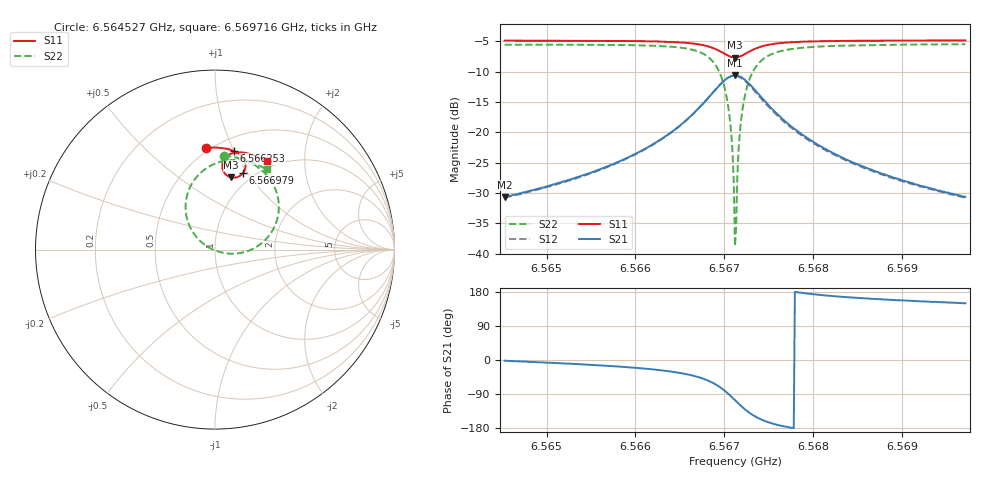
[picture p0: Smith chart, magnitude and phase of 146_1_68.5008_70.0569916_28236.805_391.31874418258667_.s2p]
#  HZ  S  RI  R  50.00
! Rohde & Schwarz Vector Network Analyzer
! Rohde-Schwarz,ZNB20-2Port,1311601062101988,3.16
! Created: UTC 3/20/2024, 5:10:13 PM
! freq[Hz]  re:S11  im:S11  re:S21  im:S21  re:S12  im:S12  re:S22  im:S22
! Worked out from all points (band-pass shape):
!   401 points, 6.564527 GHz to 6.569716 GHz, reference 50 ohm
!   highest |S21| = -10.63 dB at 6.567122 GHz (marker M1); lowest = -30.7 dB at 6.564527 GHz (marker M2)
!   |S21| within 3 dB of the highest: 6.566863 GHz to 6.567382 GHz (518.4 kHz wide, 0.00789 % of centre)
!   lowest |S11| = -7.7 dB at 6.567122 GHz (marker M3), VSWR 2.40, Z = 42 + j40.7 ohm
!   |S11| at or under -10 dB: nowhere
!   |S22| runs from -38.8 to -5.5 dB; largest |S21 - S12| = 0.014
!   S11 on the Smith chart (normalised r, x): 6.564527 GHz: 0.48, +0.80; 6.566253 GHz: 0.62, +1.00; 6.566979 GHz: 0.89, +0.95; 6.569716 GHz: 0.90, +1.32
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6.5645271e9  -0.0498 0.5669  0.0293 -0.000926  0.0288 -0.00155  0.0506 0.5233
6.5653963e9  0.022 0.5673  0.0429 -0.00872  0.0422 -0.00928  0.1348 0.5082
6.5662525e9  0.104 0.5499  0.0755 -0.0372  0.0744 -0.038  0.2531 0.4485
6.5662655e9  0.1054 0.5495  0.0764 -0.0382  0.0751 -0.0389  0.2552 0.4465
6.5665639e9  0.1409 0.5279  0.0992 -0.0744  0.0976 -0.0758  0.3175 0.375
6.5667715e9  0.1651 0.4936  0.1124 -0.1339  0.1096 -0.1366  0.3549 0.2603
6.5668882e9  0.1694 0.4596  0.1012 -0.1934  0.0964 -0.197  0.3396 0.1469
6.566979e9  0.1564 0.4266  0.0614 -0.2498  0.0528 -0.2531  0.2671 0.0414
6.5670569e9  0.1259 0.4043  -0.00739 -0.2851  -0.0197 -0.2844  0.1398 -0.0192
6.5670828e9  0.1123 0.4012  -0.0364 -0.2884  -0.0491 -0.2856  0.0875 -0.0229
6.5671088e9  0.098 0.4012  -0.0663 -0.286  -0.0791 -0.281  0.0343 -0.0155
6.5671217e9  0.0908 0.4023  -0.0809 -0.2827  -0.0934 -0.2765  0.00846 -0.00779
6.5671347e9  0.0839 0.4043  -0.0955 -0.2779  -0.1074 -0.2706  -0.0165 0.00246
6.5671477e9  0.0772 0.407  -0.109 -0.2715  -0.1205 -0.2633  -0.04 0.0152
6.5671736e9  0.0651 0.4145  -0.1341 -0.2555  -0.1439 -0.2454  -0.0816 0.0469
6.5672126e9  0.0512 0.4295  -0.1632 -0.2249  -0.1702 -0.2133  -0.1279 0.1048
6.5672515e9  0.0431 0.4466  -0.1815 -0.1909  -0.1855 -0.179  -0.1544 0.1667
6.5673163e9  0.0407 0.474  -0.1916 -0.1372  -0.1918 -0.1264  -0.1628 0.2614
6.5675628e9  0.0792 0.5296  -0.1467 -0.0284  -0.1435 -0.024  -0.0601 0.4448
6.567991e9  0.1424 0.5422  -0.0838 0.00915  -0.0816 0.0104  0.0798 0.498
6.5688602e9  0.2253 0.5226  -0.0406 0.0157  -0.0397 0.0159  0.211 0.4815
6.5697164e9  0.2894 0.492  -0.0254 0.0149  -0.0248 0.015  0.2881 0.4469
